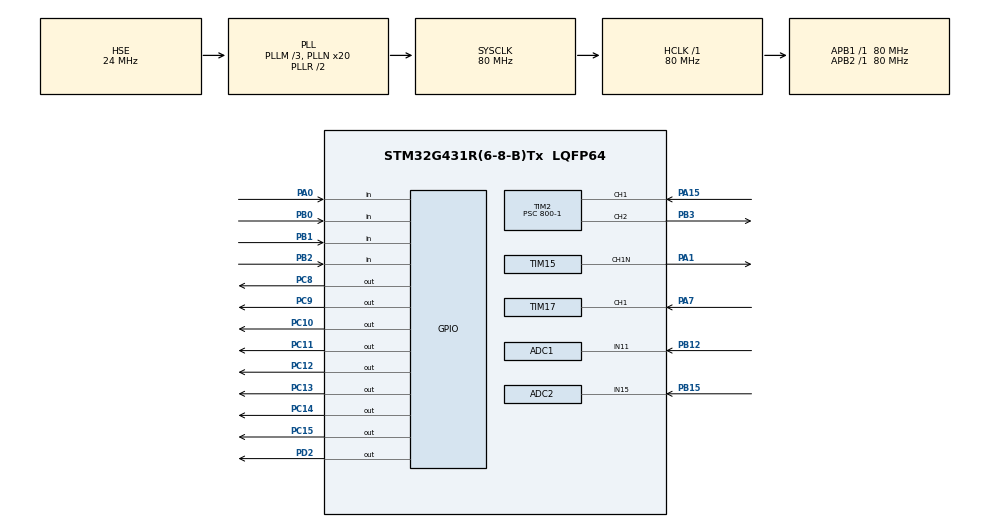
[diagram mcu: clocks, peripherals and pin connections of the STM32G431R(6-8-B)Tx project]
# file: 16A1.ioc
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ADC1.Channel-0\#ChannelRegularConversion=ADC_CHANNEL_11
ADC1.NbrOfConversionFlag=1
ADC1.OffsetNumber-0\#ChannelRegularConversion=ADC_OFFSET_NONE
ADC1.Rank-0\#ChannelRegularConversion=1
ADC1.SamplingTime-0\#ChannelRegularConversion=ADC_SAMPLETIME_2CYCLES_5
ADC1.master=1
ADC2.Channel-0\#ChannelRegularConversion=ADC_CHANNEL_15
ADC2.NbrOfConversionFlag=1
ADC2.OffsetNumber-0\#ChannelRegularConversion=ADC_OFFSET_NONE
ADC2.Rank-0\#ChannelRegularConversion=1
ADC2.SamplingTime-0\#ChannelRegularConversion=ADC_SAMPLETIME_2CYCLES_5
Mcu.Family=STM32G4
Mcu.Name=STM32G431R(6-8-B)Tx
Mcu.Package=LQFP64
NVIC.ADC1_2_IRQn=true\:0\:0\:false\:false\:true\:true\:true\:true
NVIC.PriorityGroup=NVIC_PRIORITYGROUP_4
NVIC.TIM1_BRK_TIM15_IRQn=true\:0\:0\:false\:false\:true\:true\:true\:true
NVIC.TIM1_TRG_COM_TIM17_IRQn=true\:0\:0\:false\:false\:true\:true\:true\:true
NVIC.TIM2_IRQn=true\:2\:0\:true\:false\:true\:true\:true\:true
NVIC.TIM3_IRQn=true\:0\:0\:false\:false\:true\:true\:true\:true
NVIC.TIM4_IRQn=true\:0\:0\:false\:false\:true\:true\:true\:true
PA0.GPIO_PuPd=GPIO_PULLUP
PA0.Signal=GPIO_Input
PA1.Mode=PWM Generation1 CH1N
PA1.Signal=TIM15_CH1N
PA13.Mode=Serial_Wire
PA13.Signal=SYS_JTMS-SWDIO
PA14.Mode=Serial_Wire
PA14.Signal=SYS_JTCK-SWCLK
PA15.Signal=S_TIM2_CH1
PA7.Signal=S_TIM17_CH1
PB0.GPIO_PuPd=GPIO_PULLUP
PB0.Signal=GPIO_Input
PB1.GPIO_PuPd=GPIO_PULLUP
PB1.Signal=GPIO_Input
PB12.Mode=IN11-Single-Ended
PB12.Signal=ADC1_IN11
PB15.Mode=IN15-Single-Ended
PB15.Signal=ADC2_IN15
PB2.GPIO_PuPd=GPIO_PULLUP
PB2.Signal=GPIO_Input
PB3.Signal=S_TIM2_CH2
PB4.Signal=S_TIM16_CH1
PC10.PinState=GPIO_PIN_SET
PC10.Signal=GPIO_Output
PC11.PinState=GPIO_PIN_SET
PC11.Signal=GPIO_Output
PC12.PinState=GPIO_PIN_SET
PC12.Signal=GPIO_Output
PC13.PinState=GPIO_PIN_SET
PC13.Signal=GPIO_Output
PC14-OSC32_IN.PinState=GPIO_PIN_SET
PC14-OSC32_IN.Signal=GPIO_Output
PC15-OSC32_OUT.PinState=GPIO_PIN_SET
PC15-OSC32_OUT.Signal=GPIO_Output
PC8.PinState=GPIO_PIN_SET
PC8.Signal=GPIO_Output
PC9.PinState=GPIO_PIN_SET
PC9.Signal=GPIO_Output
PD2.PinState=GPIO_PIN_SET
PD2.Signal=GPIO_Output
PF0-OSC_IN.Mode=HSE-External-Oscillator
PF0-OSC_IN.Signal=RCC_OSC_IN
PF1-OSC_OUT.Mode=HSE-External-Oscillator
PF1-OSC_OUT.Signal=RCC_OSC_OUT
ProjectManager.HeapSize=0x200
ProjectManager.StackSize=0x400
ProjectManager.TargetToolchain=MDK-ARM V5.32
RCC.ADC12Freq_Value=80000000
RCC.AHBFreq_Value=80000000
RCC.APB1Freq_Value=80000000
RCC.APB1TimFreq_Value=80000000
RCC.APB2Freq_Value=80000000
RCC.APB2TimFreq_Value=80000000
RCC.CortexFreq_Value=80000000
RCC.EXTERNAL_CLOCK_VALUE=12288000
RCC.HCLKFreq_Value=80000000
RCC.HSE_VALUE=24000000
RCC.HSI48_VALUE=48000000
RCC.HSI_VALUE=16000000
RCC.LSE_VALUE=32768
RCC.PLLM=RCC_PLLM_DIV3
RCC.PLLN=20
RCC.PLLSourceVirtual=RCC_PLLSOURCE_HSE
RCC.SYSCLKFreq_VALUE=80000000
RCC.SYSCLKSource=RCC_SYSCLKSOURCE_PLLCLK
RCC.USBFreq_Value=80000000
RCC.VCOOutputFreq_Value=160000000
SH.S_TIM16_CH1.0=TIM16_CH1
SH.S_TIM17_CH1.0=TIM17_CH1,Input_Capture1_from_TI1
SH.S_TIM2_CH1.0=TIM2_CH1,Input_Capture1_from_TI1
SH.S_TIM2_CH2.0=TIM2_CH2,PWM Generation2 CH2
TIM15.Channel-PWM\ Generation1\ CH1N=TIM_CHANNEL_1
TIM15.Prescaler=80-1
TIM17.Channel=TIM_CHANNEL_1
TIM17.Prescaler=80-1
TIM2.Channel-Input_Capture1_from_TI1=TIM_CHANNEL_1
TIM2.Channel-PWM\ Generation2\ CH2=TIM_CHANNEL_2
TIM2.PeriodNoDither=65535
TIM2.Prescaler=800-1
TIM3.PeriodNoDither=100-1
TIM3.Prescaler=800-1
TIM4.Prescaler=800-1
VP_SYS_VS_DBSignals.Mode=DisableDeadBatterySignals
VP_TIM17_VS_ClockSourceINT.Mode=Enable_Timer
VP_TIM3_VS_ClockSourceINT.Mode=Internal
VP_TIM4_VS_ClockSourceINT.Mode=Internal
board=custom

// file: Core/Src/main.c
/* USER CODE BEGIN Header */
/**
  ******************************************************************************
  * @file           : main.c
  * @brief          : Main program body
  ******************************************************************************
  * @attention
  *
  * Copyright (c) 2026 STMicroelectronics.
  * All rights reserved.
  *
  * This software is licensed under terms that can be found in the LICENSE file
  * in the root directory of this software component.
  * If no LICENSE file comes with this software, it is provided AS-IS.
  *
  ******************************************************************************
  */
/* USER CODE END Header */
#include "main.h"
#include "adc.h"
#include "tim.h"
#include "gpio.h"

/* USER CODE BEGIN Includes */
#include "head.h"
/* USER CODE END Includes */

void SystemClock_Config(void);

int main(void)
{

  /* MCU Configuration--------------------------------------------------------*/

  /* Reset of all peripherals, Initializes the Flash interface and the Systick. */
  HAL_Init();

  /* Configure the system clock */
  SystemClock_Config();

  /* Initialize all configured peripherals */
  MX_GPIO_Init();
  MX_ADC1_Init();
  MX_ADC2_Init();
  MX_TIM2_Init();
  MX_TIM15_Init();
  MX_TIM17_Init();
  MX_TIM3_Init();
  MX_TIM4_Init();
  /* USER CODE BEGIN 2 */

HAL_GPIO_WritePin (GPIOD,GPIO_PIN_2,GPIO_PIN_RESET );
LCD_Init ();
LCD_Clear (Black );
LCD_SetBackColor (Black );
LCD_SetTextColor (White );

HAL_TIM_PWM_Start (&htim2,TIM_CHANNEL_2 );
TIM2->CCR2=50;
HAL_TIM_IC_Start (&htim17,TIM_CHANNEL_1 );
	HAL_TIM_IC_Start_IT(&htim2, TIM_CHANNEL_1);
	TIM2->ARR=50;
HAL_TIM_Base_Start_IT (&htim3 );
HAL_TIM_Base_Start_IT (&htim4 );

  /* USER CODE END 2 */

  /* Infinite loop */
  while (1)
  {

    /* USER CODE BEGIN 3 */

		led_show (4,0);led_show (5,0);led_show (6,0);led_show (7,0);
		lcd_show ();
		key();
		ma();

  }
  /* USER CODE END 3 */
}

void SystemClock_Config(void)
{
  RCC_OscInitTypeDef RCC_OscInitStruct = {0};
  RCC_ClkInitTypeDef RCC_ClkInitStruct = {0};

  /** Configure the main internal regulator output voltage
  */
  HAL_PWREx_ControlVoltageScaling(PWR_REGULATOR_VOLTAGE_SCALE1);

  /** Initializes the RCC Oscillators according to the specified parameters
  * in the RCC_OscInitTypeDef structure.
  */
  RCC_OscInitStruct.OscillatorType = RCC_OSCILLATORTYPE_HSE;
  RCC_OscInitStruct.HSEState = RCC_HSE_ON;
  RCC_OscInitStruct.PLL.PLLState = RCC_PLL_ON;
  RCC_OscInitStruct.PLL.PLLSource = RCC_PLLSOURCE_HSE;
  RCC_OscInitStruct.PLL.PLLM = RCC_PLLM_DIV3;
  RCC_OscInitStruct.PLL.PLLN = 20;
  RCC_OscInitStruct.PLL.PLLP = RCC_PLLP_DIV2;
  RCC_OscInitStruct.PLL.PLLQ = RCC_PLLQ_DIV2;
  RCC_OscInitStruct.PLL.PLLR = RCC_PLLR_DIV2;
  if (HAL_RCC_OscConfig(&RCC_OscInitStruct) != HAL_OK)
  {
    Error_Handler();
  }

  /** Initializes the CPU, AHB and APB buses clocks
  */
  RCC_ClkInitStruct.ClockType = RCC_CLOCKTYPE_HCLK|RCC_CLOCKTYPE_SYSCLK
                              |RCC_CLOCKTYPE_PCLK1|RCC_CLOCKTYPE_PCLK2;
  RCC_ClkInitStruct.SYSCLKSource = RCC_SYSCLKSOURCE_PLLCLK;
  RCC_ClkInitStruct.AHBCLKDivider = RCC_SYSCLK_DIV1;
  RCC_ClkInitStruct.APB1CLKDivider = RCC_HCLK_DIV1;
  RCC_ClkInitStruct.APB2CLKDivider = RCC_HCLK_DIV1;

  if (HAL_RCC_ClockConfig(&RCC_ClkInitStruct, FLASH_LATENCY_2) != HAL_OK)
  {
    Error_Handler();
  }
}

void Error_Handler(void)
{
  __disable_irq();
  while (1)
  {
  }
}
